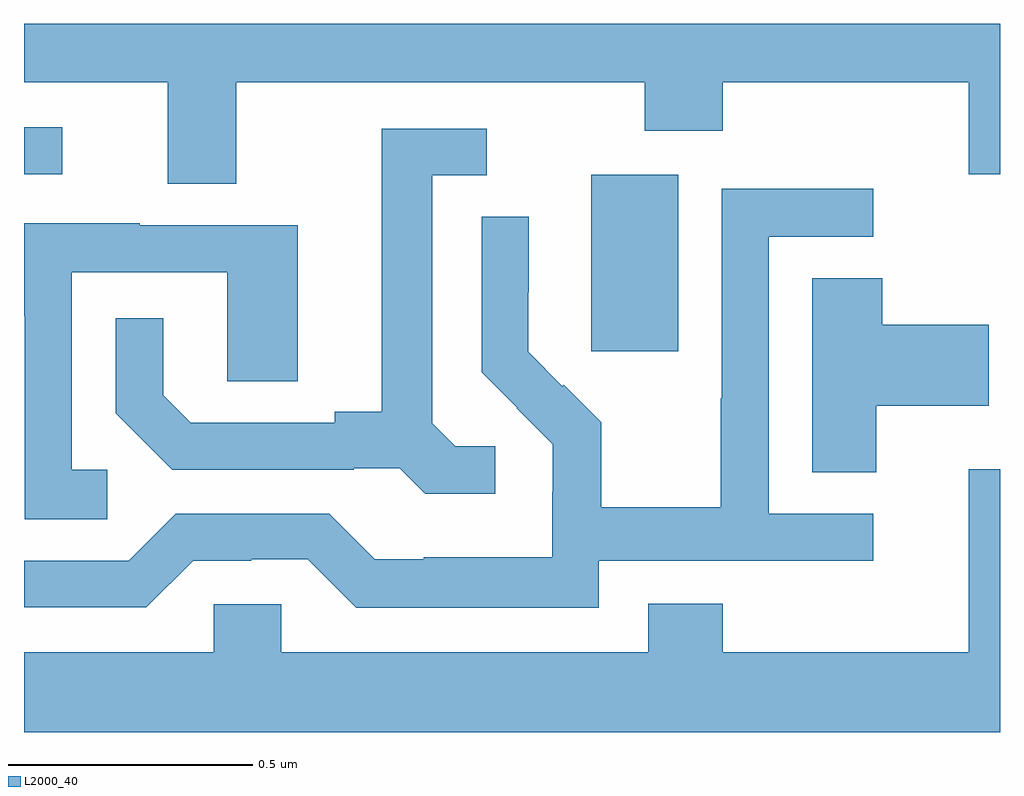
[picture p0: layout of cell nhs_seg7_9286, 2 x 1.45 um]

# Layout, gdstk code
import gdstk
lib = gdstk.Library(unit=1e-6, precision=1e-09)
def R(c, l, rs):  # rectangles x0, y0, x1, y1
    for r in rs: c.add(gdstk.rectangle(r[:2], r[2:], *l))
def P(c, l, *ps):  # polygons
    for p in ps: c.add(gdstk.Polygon(p, *l))
L2000_40 = (2000, 40)

nhs_seg7_9286 = lib.new_cell('nhs_seg7_9286')
R(nhs_seg7_9286, L2000_40, [(236.162,1069.329,236.341,1069.69), (235,1069.692,235.078,1069.788)])
P(nhs_seg7_9286, L2000_40, [(235.435,1069.88),(236.272,1069.88),(236.272,1069.781),(236.432,1069.781),(236.432,1069.88),(236.936,1069.88),(236.936,1069.692),(237,1069.692),(237,1070),(235,1070),(235,1069.88),(235.295,1069.88),(235.295,1069.672),(235.435,1069.672)],
  [(235.966,1069.134),(235.884,1069.134),(235.837,1069.181),(235.837,1069.689),(235.948,1069.689),(235.948,1069.785),(235.733,1069.785),(235.733,1069.205),(235.637,1069.205),(235.637,1069.182),(235.342,1069.182),(235.285,1069.239),(235.285,1069.396),(235.188,1069.396),(235.188,1069.202),(235.304,1069.086),(235.676,1069.086),(235.676,1069.089),(235.77,1069.089),(235.822,1069.037),(235.966,1069.037)],
  [(236.178,1068.9),(236.74,1068.9),(236.74,1068.996),(236.526,1068.996),(236.526,1069.563),(236.74,1069.563),(236.74,1069.662),(236.43,1069.662),(236.43,1069.232),(236.428,1069.232),(236.428,1069.009),(236.183,1069.009),(236.183,1069.183),(236.106,1069.26),(236.103,1069.257),(236.033,1069.328),(236.033,1069.45),(236.034,1069.45),(236.034,1069.604),(235.938,1069.604),(235.938,1069.286),(236.011,1069.213),(236.01,1069.212),(236.084,1069.138),(236.084,1069.041),(236.082,1069.041),(236.082,1068.907),(235.819,1068.907),(235.819,1068.903),(235.719,1068.903),(235.626,1068.996),(235.311,1068.996),(235.215,1068.9),(235,1068.9),(235,1068.804),(235.251,1068.804),(235.347,1068.9),(235.466,1068.9),(235.466,1068.903),(235.581,1068.903),(235.681,1068.803),(236.178,1068.803)],
  [(235.171,1069.086),(235.098,1069.086),(235.098,1069.491),(235.416,1069.491),(235.416,1069.267),(235.561,1069.267),(235.561,1069.587),(235.237,1069.587),(235.237,1069.591),(235,1069.591),(235,1069.401),(235.002,1069.401),(235.002,1068.985),(235.171,1068.985)],
  [(236.746,1069.217),(236.977,1069.217),(236.977,1069.383),(236.759,1069.383),(236.759,1069.478),(236.615,1069.478),(236.615,1069.081),(236.746,1069.081)],
  [(237,1069.087),(236.936,1069.087),(236.936,1068.712),(236.432,1068.712),(236.432,1068.811),(236.279,1068.811),(236.279,1068.712),(235.527,1068.712),(235.527,1068.81),(235.389,1068.81),(235.389,1068.712),(235,1068.712),(235,1068.548),(237,1068.548)])

lib.write_gds('nhs_seg7_9286.gds')
